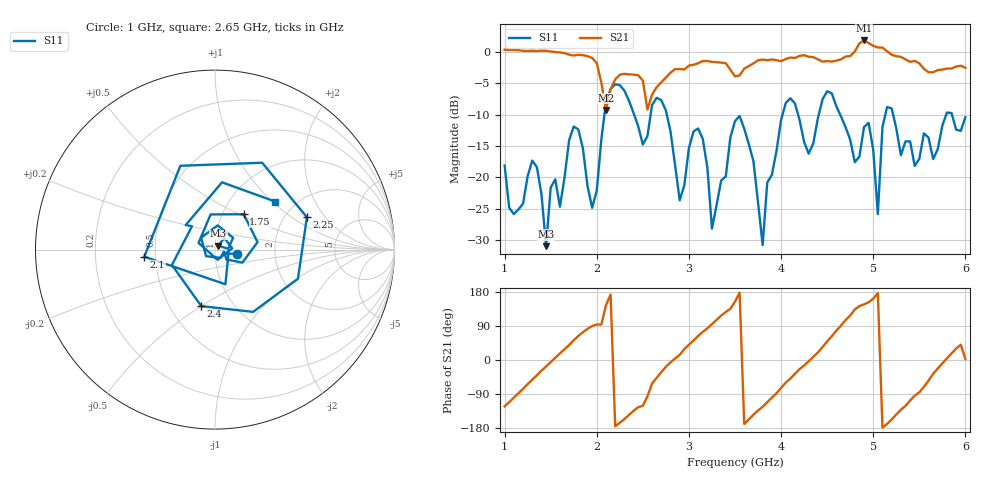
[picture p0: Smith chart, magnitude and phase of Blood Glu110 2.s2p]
! NanoVNA-App
! Date: 2024-03-20 23:32:57
! Start: 1GHz Stop: 6GHz Points: 101
! S-Parameter data: F S11 S21 S12 S22
# Hz S RI R 50
!	Frequency	S11_Real	S11_Imag	S21_Real	S21_Imag	S12_Real	S12_Imag	S22_Real	S22_Imag
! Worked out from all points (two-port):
!   101 points, 1 GHz to 6 GHz, reference 50 ohm
!   highest |S21| = 1.81 dB at 4.9 GHz (marker M1); lowest = -9.3 dB at 2.1 GHz (marker M2)
!   |S21| within 3 dB of the highest: start of sweep to 1.963 GHz; 4.652 GHz to 5.348 GHz (695.9 MHz wide, 13.9 % of centre)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
!   lowest |S11| = -31.0 dB at 1.45 GHz (marker M3), VSWR 1.06, Z = 51.7 + j2.29 ohm
!   |S11| at or under -10 dB: start of sweep to 2.083 GHz; 2.76 GHz to 4.016 GHz (1.256 GHz wide, 37.1 % of centre); 5.215 GHz to 5.792 GHz (576.7 MHz wide, 10.5 % of centre)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
!   S12 and S22 are empty: the file has one direction only
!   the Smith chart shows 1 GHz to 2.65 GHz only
!   S11 on the Smith chart (normalised r, x): 1 GHz: 1.28, -0.06; 1.75 GHz: 1.26, +0.53; 2.1 GHz: 0.43, -0.04; 2.25 GHz: 2.61, +1.33; 2.4 GHz: 0.71, -0.50; 2.65 GHz: 1.60, +1.05
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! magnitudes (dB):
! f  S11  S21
! 1 GHz  -18.1  0.3
! 1.35 GHz  -18.4  0.1
! 1.45 GHz  -31.0  0.2
! 1.75 GHz  -11.9  -0.6
! 1.85 GHz  -15.4  -0.5
! 1.95 GHz  -24.9  -1.0
! 2.1 GHz  -8.0  -9.3
! 2.25 GHz  -5.3  -3.7
! 2.4 GHz  -9.8  -3.6
! 2.65 GHz  -7.3  -5.6
! 2.7 GHz  -7.7  -4.9
! 2.9 GHz  -23.7  -2.7
! 3.15 GHz  -13.8  -1.5
! 3.25 GHz  -28.2  -1.6
! 3.5 GHz  -11.1  -3.9
! 3.8 GHz  -30.8  -1.2
! 4.05 GHz  -8.2  -1.1
! 4.35 GHz  -14.6  -0.9
! 4.9 GHz  -12.0  1.8
! 5.05 GHz  -25.9  0.7
! 5.2 GHz  -9.0  -0.5
! 6 GHz  -10.4  -2.5
